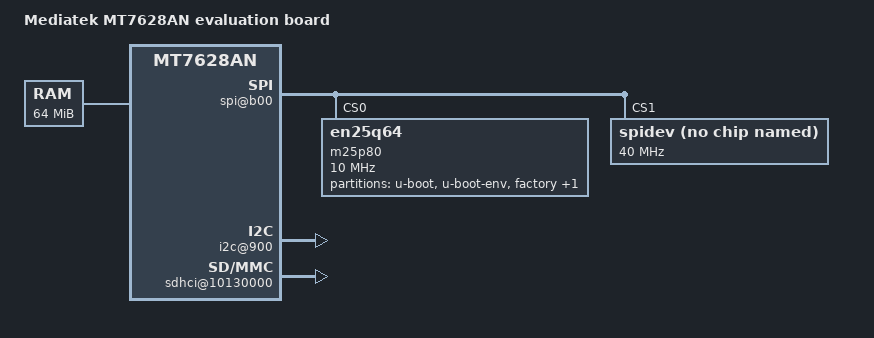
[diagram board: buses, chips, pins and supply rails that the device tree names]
/dts-v1/;

/include/ "mt7628an.dtsi"

/ {
	compatible = "mediatek,mt7628an-eval-board", "mediatek,mt7628an-soc";
	model = "Mediatek MT7628AN evaluation board";

	memory@0 {
		device_type = "memory";
		reg = <0x0 0x4000000>;		/* support 64MB memory */
	};

	pinctrl {
		state_default: pinctrl0 {
			gpio {
				ralink,group = "jtag","wled_an";
				ralink,function = "gpio";
			};
		};
	};

	palmbus@10000000 {
		spi@b00 {
			status = "okay";

			m25p80@0 {
				#address-cells = <1>;
				#size-cells = <1>;
				compatible = "en25q64";
				reg = <0 0>;
				linux,modalias = "m25p80", "en25q64";
				spi-max-frequency = <10000000>;
				m25p,chunked-io = <32>;

				partition@0 {
					label = "u-boot";
					reg = <0x0 0x30000>;
					read-only;
				};

				partition@30000 {
					label = "u-boot-env";
					reg = <0x30000 0x10000>;
					read-only;
				};

				factory: partition@40000 {
					label = "factory";
					reg = <0x40000 0x10000>;
					read-only;
				};

				partition@50000 {
					label = "firmware";
					reg = <0x50000 0x1fb0000>;	/* support 16MB norflash */
				};
			};
		/* add spi device*/
			spidev@1{
				#address-cells = <1>;
				#size-cells = <1>;
				compatible = "rohm,dh2228fv";
				reg = <1 0>;
				spi-max-frequency = <40000000>;
			};
		};
		
		i2c@900 {

            status = "okay";
	   		/*add i2c device*/ 
		};
			/*add support sd*/
	};
	
	sdhci@10130000 {
		status = "okay";
	}; 
};
